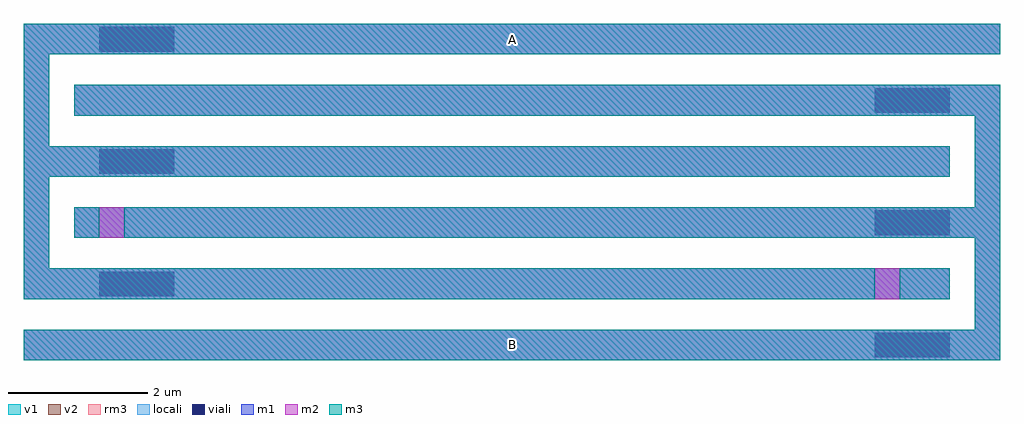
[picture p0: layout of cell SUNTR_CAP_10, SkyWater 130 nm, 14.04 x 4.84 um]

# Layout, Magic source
magic
tech sky130A
magscale 1 2
<< m1 >>
rect 108 -44 2916 44
rect 2844 44 2916 132
rect 108 132 2772 220
rect 2844 132 2916 220
rect 108 220 180 308
rect 2844 220 2916 308
rect 108 308 180 396
rect 252 308 2916 396
rect 108 396 180 484
rect 2844 396 2916 484
rect 108 484 2772 572
rect 2844 484 2916 572
rect 108 572 180 660
rect 2844 572 2916 660
rect 108 660 180 748
rect 252 660 2916 748
rect 108 748 180 836
rect 108 836 2916 924
<< m2 >>
rect 108 -44 2916 44
rect 2844 44 2916 132
rect 108 132 2772 220
rect 2844 132 2916 220
rect 108 220 180 308
rect 2844 220 2916 308
rect 108 308 180 396
rect 252 308 2916 396
rect 108 396 180 484
rect 2844 396 2916 484
rect 108 484 2772 572
rect 2844 484 2916 572
rect 108 572 180 660
rect 2844 572 2916 660
rect 108 660 180 748
rect 252 660 2916 748
rect 108 748 180 836
rect 108 836 2916 924
<< locali >>
rect 108 -44 2916 44
rect 2844 44 2916 132
rect 108 132 2772 220
rect 2844 132 2916 220
rect 108 220 180 308
rect 2844 220 2916 308
rect 108 308 180 396
rect 252 308 2916 396
rect 108 396 180 484
rect 2844 396 2916 484
rect 108 484 2772 572
rect 2844 484 2916 572
rect 108 572 180 660
rect 2844 572 2916 660
rect 108 660 180 748
rect 252 660 2916 748
rect 108 748 180 836
rect 108 836 2916 924
<< v1 >>
rect 2556 -35 2628 -26
rect 2556 -26 2628 -17
rect 2556 -17 2628 -8
rect 2556 -8 2628 0
rect 2556 0 2628 8
rect 2556 8 2628 17
rect 2556 17 2628 26
rect 2556 26 2628 35
rect 2628 -35 2700 -26
rect 2628 -26 2700 -17
rect 2628 -17 2700 -8
rect 2628 -8 2700 0
rect 2628 0 2700 8
rect 2628 8 2700 17
rect 2628 17 2700 26
rect 2628 26 2700 35
rect 2700 -35 2772 -26
rect 2700 -26 2772 -17
rect 2700 -17 2772 -8
rect 2700 -8 2772 0
rect 2700 0 2772 8
rect 2700 8 2772 17
rect 2700 17 2772 26
rect 2700 26 2772 35
rect 324 140 396 149
rect 324 149 396 158
rect 324 158 396 167
rect 324 167 396 176
rect 324 176 396 184
rect 324 184 396 193
rect 324 193 396 202
rect 324 202 396 211
rect 396 140 468 149
rect 396 149 468 158
rect 396 158 468 167
rect 396 167 468 176
rect 396 176 468 184
rect 396 184 468 193
rect 396 193 468 202
rect 396 202 468 211
rect 468 140 540 149
rect 468 149 540 158
rect 468 158 540 167
rect 468 167 540 176
rect 468 176 540 184
rect 468 184 540 193
rect 468 193 540 202
rect 468 202 540 211
rect 2556 316 2628 325
rect 2556 325 2628 334
rect 2556 334 2628 343
rect 2556 343 2628 352
rect 2556 352 2628 360
rect 2556 360 2628 369
rect 2556 369 2628 378
rect 2556 378 2628 387
rect 2628 316 2700 325
rect 2628 325 2700 334
rect 2628 334 2700 343
rect 2628 343 2700 352
rect 2628 352 2700 360
rect 2628 360 2700 369
rect 2628 369 2700 378
rect 2628 378 2700 387
rect 2700 316 2772 325
rect 2700 325 2772 334
rect 2700 334 2772 343
rect 2700 343 2772 352
rect 2700 352 2772 360
rect 2700 360 2772 369
rect 2700 369 2772 378
rect 2700 378 2772 387
rect 324 492 396 501
rect 324 501 396 510
rect 324 510 396 519
rect 324 519 396 528
rect 324 528 396 536
rect 324 536 396 545
rect 324 545 396 554
rect 324 554 396 563
rect 396 492 468 501
rect 396 501 468 510
rect 396 510 468 519
rect 396 519 468 528
rect 396 528 468 536
rect 396 536 468 545
rect 396 545 468 554
rect 396 554 468 563
rect 468 492 540 501
rect 468 501 540 510
rect 468 510 540 519
rect 468 519 540 528
rect 468 528 540 536
rect 468 536 540 545
rect 468 545 540 554
rect 468 554 540 563
rect 2556 668 2628 677
rect 2556 677 2628 686
rect 2556 686 2628 695
rect 2556 695 2628 704
rect 2556 704 2628 712
rect 2556 712 2628 721
rect 2556 721 2628 730
rect 2556 730 2628 739
rect 2628 668 2700 677
rect 2628 677 2700 686
rect 2628 686 2700 695
rect 2628 695 2700 704
rect 2628 704 2700 712
rect 2628 712 2700 721
rect 2628 721 2700 730
rect 2628 730 2700 739
rect 2700 668 2772 677
rect 2700 677 2772 686
rect 2700 686 2772 695
rect 2700 695 2772 704
rect 2700 704 2772 712
rect 2700 712 2772 721
rect 2700 721 2772 730
rect 2700 730 2772 739
rect 324 844 396 853
rect 324 853 396 862
rect 324 862 396 871
rect 324 871 396 880
rect 324 880 396 888
rect 324 888 396 897
rect 324 897 396 906
rect 324 906 396 915
rect 396 844 468 853
rect 396 853 468 862
rect 396 862 468 871
rect 396 871 468 880
rect 396 880 468 888
rect 396 888 468 897
rect 396 897 468 906
rect 396 906 468 915
rect 468 844 540 853
rect 468 853 540 862
rect 468 862 540 871
rect 468 871 540 880
rect 468 880 540 888
rect 468 888 540 897
rect 468 897 540 906
rect 468 906 540 915
<< v2 >>
rect 2556 -35 2628 -26
rect 2556 -26 2628 -17
rect 2556 -17 2628 -8
rect 2556 -8 2628 0
rect 2556 0 2628 8
rect 2556 8 2628 17
rect 2556 17 2628 26
rect 2556 26 2628 35
rect 2628 -35 2700 -26
rect 2628 -26 2700 -17
rect 2628 -17 2700 -8
rect 2628 -8 2700 0
rect 2628 0 2700 8
rect 2628 8 2700 17
rect 2628 17 2700 26
rect 2628 26 2700 35
rect 2700 -35 2772 -26
rect 2700 -26 2772 -17
rect 2700 -17 2772 -8
rect 2700 -8 2772 0
rect 2700 0 2772 8
rect 2700 8 2772 17
rect 2700 17 2772 26
rect 2700 26 2772 35
rect 324 140 396 149
rect 324 149 396 158
rect 324 158 396 167
rect 324 167 396 176
rect 324 176 396 184
rect 324 184 396 193
rect 324 193 396 202
rect 324 202 396 211
rect 396 140 468 149
rect 396 149 468 158
rect 396 158 468 167
rect 396 167 468 176
rect 396 176 468 184
rect 396 184 468 193
rect 396 193 468 202
rect 396 202 468 211
rect 468 140 540 149
rect 468 149 540 158
rect 468 158 540 167
rect 468 167 540 176
rect 468 176 540 184
rect 468 184 540 193
rect 468 193 540 202
rect 468 202 540 211
rect 2556 316 2628 325
rect 2556 325 2628 334
rect 2556 334 2628 343
rect 2556 343 2628 352
rect 2556 352 2628 360
rect 2556 360 2628 369
rect 2556 369 2628 378
rect 2556 378 2628 387
rect 2628 316 2700 325
rect 2628 325 2700 334
rect 2628 334 2700 343
rect 2628 343 2700 352
rect 2628 352 2700 360
rect 2628 360 2700 369
rect 2628 369 2700 378
rect 2628 378 2700 387
rect 2700 316 2772 325
rect 2700 325 2772 334
rect 2700 334 2772 343
rect 2700 343 2772 352
rect 2700 352 2772 360
rect 2700 360 2772 369
rect 2700 369 2772 378
rect 2700 378 2772 387
rect 324 492 396 501
rect 324 501 396 510
rect 324 510 396 519
rect 324 519 396 528
rect 324 528 396 536
rect 324 536 396 545
rect 324 545 396 554
rect 324 554 396 563
rect 396 492 468 501
rect 396 501 468 510
rect 396 510 468 519
rect 396 519 468 528
rect 396 528 468 536
rect 396 536 468 545
rect 396 545 468 554
rect 396 554 468 563
rect 468 492 540 501
rect 468 501 540 510
rect 468 510 540 519
rect 468 519 540 528
rect 468 528 540 536
rect 468 536 540 545
rect 468 545 540 554
rect 468 554 540 563
rect 2556 668 2628 677
rect 2556 677 2628 686
rect 2556 686 2628 695
rect 2556 695 2628 704
rect 2556 704 2628 712
rect 2556 712 2628 721
rect 2556 721 2628 730
rect 2556 730 2628 739
rect 2628 668 2700 677
rect 2628 677 2700 686
rect 2628 686 2700 695
rect 2628 695 2700 704
rect 2628 704 2700 712
rect 2628 712 2700 721
rect 2628 721 2700 730
rect 2628 730 2700 739
rect 2700 668 2772 677
rect 2700 677 2772 686
rect 2700 686 2772 695
rect 2700 695 2772 704
rect 2700 704 2772 712
rect 2700 712 2772 721
rect 2700 721 2772 730
rect 2700 730 2772 739
rect 324 844 396 853
rect 324 853 396 862
rect 324 862 396 871
rect 324 871 396 880
rect 324 880 396 888
rect 324 888 396 897
rect 324 897 396 906
rect 324 906 396 915
rect 396 844 468 853
rect 396 853 468 862
rect 396 862 468 871
rect 396 871 468 880
rect 396 880 468 888
rect 396 888 468 897
rect 396 897 468 906
rect 396 906 468 915
rect 468 844 540 853
rect 468 853 540 862
rect 468 862 540 871
rect 468 871 540 880
rect 468 880 540 888
rect 468 888 540 897
rect 468 897 540 906
rect 468 906 540 915
<< viali >>
rect 2556 -35 2628 -26
rect 2556 -26 2628 -17
rect 2556 -17 2628 -8
rect 2556 -8 2628 0
rect 2556 0 2628 8
rect 2556 8 2628 17
rect 2556 17 2628 26
rect 2556 26 2628 35
rect 2628 -35 2700 -26
rect 2628 -26 2700 -17
rect 2628 -17 2700 -8
rect 2628 -8 2700 0
rect 2628 0 2700 8
rect 2628 8 2700 17
rect 2628 17 2700 26
rect 2628 26 2700 35
rect 2700 -35 2772 -26
rect 2700 -26 2772 -17
rect 2700 -17 2772 -8
rect 2700 -8 2772 0
rect 2700 0 2772 8
rect 2700 8 2772 17
rect 2700 17 2772 26
rect 2700 26 2772 35
rect 324 140 396 149
rect 324 149 396 158
rect 324 158 396 167
rect 324 167 396 176
rect 324 176 396 184
rect 324 184 396 193
rect 324 193 396 202
rect 324 202 396 211
rect 396 140 468 149
rect 396 149 468 158
rect 396 158 468 167
rect 396 167 468 176
rect 396 176 468 184
rect 396 184 468 193
rect 396 193 468 202
rect 396 202 468 211
rect 468 140 540 149
rect 468 149 540 158
rect 468 158 540 167
rect 468 167 540 176
rect 468 176 540 184
rect 468 184 540 193
rect 468 193 540 202
rect 468 202 540 211
rect 2556 316 2628 325
rect 2556 325 2628 334
rect 2556 334 2628 343
rect 2556 343 2628 352
rect 2556 352 2628 360
rect 2556 360 2628 369
rect 2556 369 2628 378
rect 2556 378 2628 387
rect 2628 316 2700 325
rect 2628 325 2700 334
rect 2628 334 2700 343
rect 2628 343 2700 352
rect 2628 352 2700 360
rect 2628 360 2700 369
rect 2628 369 2700 378
rect 2628 378 2700 387
rect 2700 316 2772 325
rect 2700 325 2772 334
rect 2700 334 2772 343
rect 2700 343 2772 352
rect 2700 352 2772 360
rect 2700 360 2772 369
rect 2700 369 2772 378
rect 2700 378 2772 387
rect 324 492 396 501
rect 324 501 396 510
rect 324 510 396 519
rect 324 519 396 528
rect 324 528 396 536
rect 324 536 396 545
rect 324 545 396 554
rect 324 554 396 563
rect 396 492 468 501
rect 396 501 468 510
rect 396 510 468 519
rect 396 519 468 528
rect 396 528 468 536
rect 396 536 468 545
rect 396 545 468 554
rect 396 554 468 563
rect 468 492 540 501
rect 468 501 540 510
rect 468 510 540 519
rect 468 519 540 528
rect 468 528 540 536
rect 468 536 540 545
rect 468 545 540 554
rect 468 554 540 563
rect 2556 668 2628 677
rect 2556 677 2628 686
rect 2556 686 2628 695
rect 2556 695 2628 704
rect 2556 704 2628 712
rect 2556 712 2628 721
rect 2556 721 2628 730
rect 2556 730 2628 739
rect 2628 668 2700 677
rect 2628 677 2700 686
rect 2628 686 2700 695
rect 2628 695 2700 704
rect 2628 704 2700 712
rect 2628 712 2700 721
rect 2628 721 2700 730
rect 2628 730 2700 739
rect 2700 668 2772 677
rect 2700 677 2772 686
rect 2700 686 2772 695
rect 2700 695 2772 704
rect 2700 704 2772 712
rect 2700 712 2772 721
rect 2700 721 2772 730
rect 2700 730 2772 739
rect 324 844 396 853
rect 324 853 396 862
rect 324 862 396 871
rect 324 871 396 880
rect 324 880 396 888
rect 324 888 396 897
rect 324 897 396 906
rect 324 906 396 915
rect 396 844 468 853
rect 396 853 468 862
rect 396 862 468 871
rect 396 871 468 880
rect 396 880 468 888
rect 396 888 468 897
rect 396 897 468 906
rect 396 906 468 915
rect 468 844 540 853
rect 468 853 540 862
rect 468 862 540 871
rect 468 871 540 880
rect 468 880 540 888
rect 468 888 540 897
rect 468 897 540 906
rect 468 906 540 915
<< m3 >>
rect 108 -44 2916 44
rect 108 -44 2916 44
rect 2844 44 2916 132
rect 108 132 2556 220
rect 2628 132 2772 220
rect 2844 132 2916 220
rect 108 220 180 308
rect 2844 220 2916 308
rect 108 308 180 396
rect 252 308 324 396
rect 396 308 2916 396
rect 108 396 180 484
rect 2844 396 2916 484
rect 108 484 2772 572
rect 2844 484 2916 572
rect 108 572 180 660
rect 2844 572 2916 660
rect 108 660 180 748
rect 252 660 2916 748
rect 108 748 180 836
rect 108 836 2916 924
rect 108 836 2916 924
<< rm3 >>
rect 2556 132 2628 220
rect 324 308 396 396
<< labels >>
flabel m3 s 108 -44 2916 44 0 FreeSans 400 0 0 0 B
port 2 nsew
flabel m3 s 108 836 2916 924 0 FreeSans 400 0 0 0 A
port 1 nsew
<< end >>
